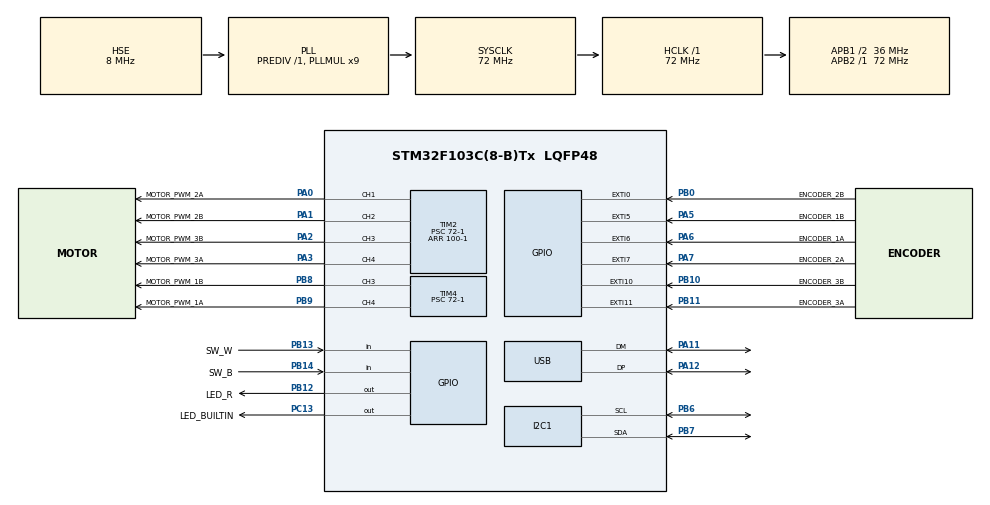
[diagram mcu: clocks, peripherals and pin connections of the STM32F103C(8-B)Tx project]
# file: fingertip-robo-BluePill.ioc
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I2C1.DualAddressMode=I2C_DUALADDRESS_DISABLE
I2C1.NoStretchMode=I2C_NOSTRETCH_ENABLE
I2C1.OwnAddress=0x1A
Mcu.Family=STM32F1
Mcu.Name=STM32F103C(8-B)Tx
Mcu.Package=LQFP48
NVIC.EXTI0_IRQn=true\:0\:0\:false\:false\:true\:true\:true
NVIC.EXTI15_10_IRQn=true\:0\:0\:false\:false\:true\:true\:true
NVIC.EXTI9_5_IRQn=true\:0\:0\:false\:false\:true\:true\:true
NVIC.I2C1_EV_IRQn=true\:0\:0\:true\:false\:true\:true\:true
NVIC.PriorityGroup=NVIC_PRIORITYGROUP_4
NVIC.USB_LP_CAN1_RX0_IRQn=true\:0\:0\:false\:false\:true\:false\:true
PA0-WKUP.GPIO_Label=MOTOR_PWM_2A
PA0-WKUP.Signal=S_TIM2_CH1_ETR
PA1.GPIO_Label=MOTOR_PWM_2B
PA1.Signal=S_TIM2_CH2
PA11.Mode=Device
PA11.Signal=USB_DM
PA12.Mode=Device
PA12.Signal=USB_DP
PA2.GPIO_Label=MOTOR_PWM_3B
PA2.Signal=S_TIM2_CH3
PA3.GPIO_Label=MOTOR_PWM_3A
PA3.Signal=S_TIM2_CH4
PA5.GPIO_Label=ENCODER_1B
PA5.GPIO_ModeDefaultEXTI=GPIO_MODE_IT_RISING_FALLING
PA5.GPIO_PuPd=GPIO_NOPULL
PA5.Signal=GPXTI5
PA6.GPIO_Label=ENCODER_1A
PA6.GPIO_ModeDefaultEXTI=GPIO_MODE_IT_RISING_FALLING
PA6.Signal=GPXTI6
PA7.GPIO_Label=ENCODER_2A
PA7.GPIO_ModeDefaultEXTI=GPIO_MODE_IT_RISING_FALLING
PA7.Signal=GPXTI7
PB0.GPIO_Label=ENCODER_2B
PB0.GPIO_ModeDefaultEXTI=GPIO_MODE_IT_RISING_FALLING
PB0.Signal=GPXTI0
PB10.GPIO_Label=ENCODER_3B
PB10.GPIO_ModeDefaultEXTI=GPIO_MODE_IT_RISING_FALLING
PB10.Signal=GPXTI10
PB11.GPIO_Label=ENCODER_3A
PB11.GPIO_ModeDefaultEXTI=GPIO_MODE_IT_RISING_FALLING
PB11.Signal=GPXTI11
PB12.GPIO_Label=LED_R
PB12.Signal=GPIO_Output
PB13.GPIO_Label=SW_W
PB13.GPIO_PuPd=GPIO_PULLUP
PB13.Signal=GPIO_Input
PB14.GPIO_Label=SW_B
PB14.GPIO_PuPd=GPIO_PULLUP
PB14.Signal=GPIO_Input
PB6.Mode=I2C
PB6.Signal=I2C1_SCL
PB7.Mode=I2C
PB7.Signal=I2C1_SDA
PB8.GPIO_Label=MOTOR_PWM_1B
PB8.Signal=S_TIM4_CH3
PB9.GPIO_Label=MOTOR_PWM_1A
PB9.Signal=S_TIM4_CH4
PC13-TAMPER-RTC.GPIO_Label=LED_BUILTIN
PC13-TAMPER-RTC.Signal=GPIO_Output
PD0-OSC_IN.Mode=HSE-External-Oscillator
PD0-OSC_IN.Signal=RCC_OSC_IN
PD1-OSC_OUT.Mode=HSE-External-Oscillator
PD1-OSC_OUT.Signal=RCC_OSC_OUT
ProjectManager.HeapSize=0x200
ProjectManager.StackSize=0x400
ProjectManager.TargetToolchain=STM32CubeIDE
RCC.AHBFreq_Value=72000000
RCC.APB1CLKDivider=RCC_HCLK_DIV2
RCC.APB1Freq_Value=36000000
RCC.APB1TimFreq_Value=72000000
RCC.APB2Freq_Value=72000000
RCC.APB2TimFreq_Value=72000000
RCC.HCLKFreq_Value=72000000
RCC.PLLMUL=RCC_PLL_MUL9
RCC.PLLSourceVirtual=RCC_PLLSOURCE_HSE
RCC.SYSCLKFreq_VALUE=72000000
RCC.SYSCLKSource=RCC_SYSCLKSOURCE_PLLCLK
RCC.USBFreq_Value=48000000
RCC.USBPrescaler=RCC_USBCLKSOURCE_PLL_DIV1_5
SH.S_TIM2_CH1_ETR.0=TIM2_CH1,PWM Generation1 CH1
SH.S_TIM2_CH2.0=TIM2_CH2,PWM Generation2 CH2
SH.S_TIM2_CH3.0=TIM2_CH3,PWM Generation3 CH3
SH.S_TIM2_CH4.0=TIM2_CH4,PWM Generation4 CH4
SH.S_TIM4_CH3.0=TIM4_CH3,PWM Generation3 CH3
SH.S_TIM4_CH4.0=TIM4_CH4,PWM Generation4 CH4
TIM2.AutoReloadPreload=TIM_AUTORELOAD_PRELOAD_ENABLE
TIM2.Channel-PWM\ Generation1\ CH1=TIM_CHANNEL_1
TIM2.Channel-PWM\ Generation2\ CH2=TIM_CHANNEL_2
TIM2.Channel-PWM\ Generation3\ CH3=TIM_CHANNEL_3
TIM2.Channel-PWM\ Generation4\ CH4=TIM_CHANNEL_4
TIM2.Period=100-1
TIM2.Prescaler=72-1
TIM4.AutoReloadPreload=TIM_AUTORELOAD_PRELOAD_ENABLE
TIM4.Channel-PWM\ Generation3\ CH3=TIM_CHANNEL_3
TIM4.Channel-PWM\ Generation4\ CH4=TIM_CHANNEL_4
TIM4.Period=100-1
TIM4.Prescaler=72-1
USB_DEVICE.CLASS_NAME_FS=CDC
USB_DEVICE.VirtualMode=Cdc
USB_DEVICE.VirtualModeFS=Cdc_FS
VP_SYS_VS_ND.Mode=No_Debug
VP_TIM2_VS_ClockSourceINT.Mode=Internal
VP_TIM4_VS_ClockSourceINT.Mode=Internal
VP_USB_DEVICE_VS_USB_DEVICE_CDC_FS.Mode=CDC_FS
board=custom

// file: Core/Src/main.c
/* USER CODE BEGIN Header */
/**
 ******************************************************************************
 * @file           : main.c
 * @brief          : Main program body
 ******************************************************************************
 * @attention
 *
 * <h2><center>&copy; Copyright (c) 2021 STMicroelectronics.
 * All rights reserved.</center></h2>
 *
 * This software component is licensed by ST under BSD 3-Clause license,
 * the "License"; You may not use this file except in compliance with the
 * License. You may obtain a copy of the License at:
 *                        opensource.org/licenses/BSD-3-Clause
 *
 ******************************************************************************
 */
/* USER CODE END Header */
#include "main.h"
#include "usb_device.h"

/* USER CODE BEGIN PTD */
typedef struct __enc_values{
	uint8_t state;
	uint8_t pre_state;
	int32_t count;
}enc_values;
/* USER CODE END PTD */

/* USER CODE BEGIN PD */
#define ENCODER_PPR 11
#define ENCODER_1ROTATION_PPR ENCODER_PPR*4*577 //577回転すると、出力軸が1回転
#define ENCODER_HALF_ROTATION_PPR ENCODER_PPR*2*577
#define MOTOR_PWM_HIGH_SPEED 60
#define MOTOR_PWM_LOW_SPEED 20
/* USER CODE END PD */

I2C_HandleTypeDef hi2c1;

TIM_HandleTypeDef htim2;
TIM_HandleTypeDef htim4;

/* USER CODE BEGIN PV */
volatile enc_values enc1, enc2, enc3;
/* USER CODE END PV */

void SystemClock_Config(void);
static void MX_GPIO_Init(void);
static void MX_I2C1_Init(void);
static void MX_TIM2_Init(void);
static void MX_TIM4_Init(void);
/* USER CODE BEGIN PFP */
void state2count(enc_values*);
/* USER CODE END PFP */

int main(void)
{

  /* MCU Configuration--------------------------------------------------------*/

  /* Reset of all peripherals, Initializes the Flash interface and the Systick. */
  HAL_Init();

  /* Configure the system clock */
  SystemClock_Config();

  /* Initialize all configured peripherals */
  MX_GPIO_Init();
  MX_I2C1_Init();
  MX_TIM2_Init();
  MX_TIM4_Init();
  MX_USB_DEVICE_Init();

  /* Infinite loop */
  /* USER CODE BEGIN WHILE */
	// Motor1 initialize
	HAL_TIM_PWM_Start(&htim4, TIM_CHANNEL_3);
	HAL_TIM_PWM_Start(&htim4, TIM_CHANNEL_4);
	enc1.pre_state = HAL_GPIO_ReadPin(ENCODER_1A_GPIO_Port, ENCODER_1A_Pin)
			+ 2 * HAL_GPIO_ReadPin(ENCODER_1B_GPIO_Port, ENCODER_1B_Pin);
	enc1.state = HAL_GPIO_ReadPin(ENCODER_1A_GPIO_Port, ENCODER_1A_Pin)
			+ 2 * HAL_GPIO_ReadPin(ENCODER_1B_GPIO_Port, ENCODER_1B_Pin);
	enc1.count = 0;

	// Motor2 initialize
	HAL_TIM_PWM_Start(&htim2, TIM_CHANNEL_1);
	HAL_TIM_PWM_Start(&htim2, TIM_CHANNEL_2);
	enc2.pre_state = HAL_GPIO_ReadPin(ENCODER_2A_GPIO_Port, ENCODER_2A_Pin)
			+ 2 * HAL_GPIO_ReadPin(ENCODER_2B_GPIO_Port, ENCODER_2B_Pin);
	enc2.state = HAL_GPIO_ReadPin(ENCODER_2A_GPIO_Port, ENCODER_2A_Pin)
			+ 2 * HAL_GPIO_ReadPin(ENCODER_2B_GPIO_Port, ENCODER_2B_Pin);
	enc2.count = 0;

	//Motor3 initialize
	HAL_TIM_PWM_Start(&htim2, TIM_CHANNEL_3);
	HAL_TIM_PWM_Start(&htim2, TIM_CHANNEL_4);
	enc3.pre_state = HAL_GPIO_ReadPin(ENCODER_3A_GPIO_Port, ENCODER_2A_Pin)
			+ 2 * HAL_GPIO_ReadPin(ENCODER_3B_GPIO_Port, ENCODER_3B_Pin);
	enc3.state = HAL_GPIO_ReadPin(ENCODER_3A_GPIO_Port, ENCODER_3A_Pin)
			+ 2 * HAL_GPIO_ReadPin(ENCODER_3B_GPIO_Port, ENCODER_3B_Pin);
	enc3.count = 0;

	uint8_t state =0;
	int32_t c_val = 0;
	while (1) {
		HAL_GPIO_WritePin(LED_BUILTIN_GPIO_Port, LED_BUILTIN_Pin, GPIO_PIN_SET);
		while(1){
			HAL_GPIO_TogglePin(LED_R_GPIO_Port, LED_R_Pin);
			HAL_Delay(200);
			if (HAL_GPIO_ReadPin(SW_B_GPIO_Port, SW_B_Pin) == GPIO_PIN_RESET){
				c_val = ENCODER_HALF_ROTATION_PPR;
				break;
			}
			if (HAL_GPIO_ReadPin(SW_W_GPIO_Port, SW_W_Pin) == GPIO_PIN_RESET){
				c_val = ENCODER_1ROTATION_PPR;
				break;
			}
		}
		HAL_GPIO_WritePin(LED_R_GPIO_Port, LED_R_Pin, GPIO_PIN_RESET);

		uint8_t motor1OK = 0, motor2OK = 0, motor3OK = 0;
		HAL_GPIO_WritePin(LED_BUILTIN_GPIO_Port, LED_BUILTIN_Pin, GPIO_PIN_RESET);

		while(motor1OK+motor2OK+motor3OK != 3){
			//motor1 pid
			if (enc1.count > c_val) {
				motor1OK = 0;
				__HAL_TIM_SET_COMPARE(&htim4, TIM_CHANNEL_4, 0);
				if(enc1.count >= c_val + (ENCODER_PPR*8)) __HAL_TIM_SET_COMPARE(&htim4, TIM_CHANNEL_3, MOTOR_PWM_HIGH_SPEED);
				else __HAL_TIM_SET_COMPARE(&htim4, TIM_CHANNEL_3, MOTOR_PWM_LOW_SPEED);
			} else if (enc1.count < c_val) {
				motor1OK = 0;
				__HAL_TIM_SET_COMPARE(&htim4, TIM_CHANNEL_3, 0);
				if(enc1.count <= c_val - (ENCODER_PPR*8)) __HAL_TIM_SET_COMPARE(&htim4, TIM_CHANNEL_4, MOTOR_PWM_HIGH_SPEED);
				else __HAL_TIM_SET_COMPARE(&htim4, TIM_CHANNEL_4, MOTOR_PWM_LOW_SPEED);
			}else if (enc1.count == c_val) {
				motor1OK = 0;
				__HAL_TIM_SET_COMPARE(&htim4, TIM_CHANNEL_4, 0);
				__HAL_TIM_SET_COMPARE(&htim4, TIM_CHANNEL_3, 0);
				motor1OK = 1;
			}

			//motor2 pid
			if (enc2.count > c_val) {
				motor2OK = 0;
				__HAL_TIM_SET_COMPARE(&htim2, TIM_CHANNEL_1, 0);
				if(enc2.count >= c_val + (ENCODER_PPR*8)) __HAL_TIM_SET_COMPARE(&htim2, TIM_CHANNEL_2, MOTOR_PWM_HIGH_SPEED);
				else __HAL_TIM_SET_COMPARE(&htim2, TIM_CHANNEL_2, MOTOR_PWM_LOW_SPEED);
			} else if (enc2.count < c_val) {
				motor2OK = 0;
				__HAL_TIM_SET_COMPARE(&htim2, TIM_CHANNEL_2, 0);
				if(enc2.count <= c_val - (ENCODER_PPR*8)) __HAL_TIM_SET_COMPARE(&htim2, TIM_CHANNEL_1, MOTOR_PWM_HIGH_SPEED);
				else __HAL_TIM_SET_COMPARE(&htim2, TIM_CHANNEL_1, MOTOR_PWM_LOW_SPEED);
			}else if (enc2.count == c_val) {
				__HAL_TIM_SET_COMPARE(&htim2, TIM_CHANNEL_1, 0);
				__HAL_TIM_SET_COMPARE(&htim2, TIM_CHANNEL_2, 0);
				motor2OK = 1;
			}

			//motor3 pid
			if (enc3.count > c_val) {
				motor3OK = 0;
				__HAL_TIM_SET_COMPARE(&htim2, TIM_CHANNEL_4, 0);
				if(enc3.count >= c_val + (ENCODER_PPR*8)) __HAL_TIM_SET_COMPARE(&htim2, TIM_CHANNEL_3, MOTOR_PWM_HIGH_SPEED);
				else __HAL_TIM_SET_COMPARE(&htim2, TIM_CHANNEL_3, MOTOR_PWM_LOW_SPEED);
			} else if (enc3.count < ENCODER_HALF_ROTATION_PPR) {
				motor3OK = 0;
				__HAL_TIM_SET_COMPARE(&htim2, TIM_CHANNEL_3, 0);
				if(enc3.count <= c_val - (ENCODER_PPR*8)) __HAL_TIM_SET_COMPARE(&htim2, TIM_CHANNEL_4, MOTOR_PWM_HIGH_SPEED);
				else __HAL_TIM_SET_COMPARE(&htim2, TIM_CHANNEL_4, MOTOR_PWM_LOW_SPEED);
			}else if (enc3.count == c_val) {
				__HAL_TIM_SET_COMPARE(&htim2, TIM_CHANNEL_4, 0);
				__HAL_TIM_SET_COMPARE(&htim2, TIM_CHANNEL_3, 0);
				motor3OK = 1;
			}

			HAL_Delay(1);
		}
		enc1.count = 0;
		enc2.count = 0;
		enc3.count = 0;
		c_val = 0;
		HAL_GPIO_WritePin(LED_BUILTIN_GPIO_Port, LED_BUILTIN_Pin, GPIO_PIN_SET);
    /* USER CODE END WHILE */

	}
}

void SystemClock_Config(void)
{
  RCC_OscInitTypeDef RCC_OscInitStruct = {0};
  RCC_ClkInitTypeDef RCC_ClkInitStruct = {0};
  RCC_PeriphCLKInitTypeDef PeriphClkInit = {0};

  /** Initializes the RCC Oscillators according to the specified parameters
  * in the RCC_OscInitTypeDef structure.
  */
  RCC_OscInitStruct.OscillatorType = RCC_OSCILLATORTYPE_HSE;
  RCC_OscInitStruct.HSEState = RCC_HSE_ON;
  RCC_OscInitStruct.HSEPredivValue = RCC_HSE_PREDIV_DIV1;
  RCC_OscInitStruct.HSIState = RCC_HSI_ON;
  RCC_OscInitStruct.PLL.PLLState = RCC_PLL_ON;
  RCC_OscInitStruct.PLL.PLLSource = RCC_PLLSOURCE_HSE;
  RCC_OscInitStruct.PLL.PLLMUL = RCC_PLL_MUL9;
  if (HAL_RCC_OscConfig(&RCC_OscInitStruct) != HAL_OK)
  {
    Error_Handler();
  }
  /** Initializes the CPU, AHB and APB buses clocks
  */
  RCC_ClkInitStruct.ClockType = RCC_CLOCKTYPE_HCLK|RCC_CLOCKTYPE_SYSCLK
                              |RCC_CLOCKTYPE_PCLK1|RCC_CLOCKTYPE_PCLK2;
  RCC_ClkInitStruct.SYSCLKSource = RCC_SYSCLKSOURCE_PLLCLK;
  RCC_ClkInitStruct.AHBCLKDivider = RCC_SYSCLK_DIV1;
  RCC_ClkInitStruct.APB1CLKDivider = RCC_HCLK_DIV2;
  RCC_ClkInitStruct.APB2CLKDivider = RCC_HCLK_DIV1;

  if (HAL_RCC_ClockConfig(&RCC_ClkInitStruct, FLASH_LATENCY_2) != HAL_OK)
  {
    Error_Handler();
  }
  PeriphClkInit.PeriphClockSelection = RCC_PERIPHCLK_USB;
  PeriphClkInit.UsbClockSelection = RCC_USBCLKSOURCE_PLL_DIV1_5;
  if (HAL_RCCEx_PeriphCLKConfig(&PeriphClkInit) != HAL_OK)
  {
    Error_Handler();
  }
}

static void MX_I2C1_Init(void)
{

  hi2c1.Instance = I2C1;
  hi2c1.Init.ClockSpeed = 100000;
  hi2c1.Init.DutyCycle = I2C_DUTYCYCLE_2;
  hi2c1.Init.OwnAddress1 = 52;
  hi2c1.Init.AddressingMode = I2C_ADDRESSINGMODE_7BIT;
  hi2c1.Init.DualAddressMode = I2C_DUALADDRESS_DISABLE;
  hi2c1.Init.OwnAddress2 = 0;
  hi2c1.Init.GeneralCallMode = I2C_GENERALCALL_DISABLE;
  hi2c1.Init.NoStretchMode = I2C_NOSTRETCH_ENABLE;
  if (HAL_I2C_Init(&hi2c1) != HAL_OK)
  {
    Error_Handler();
  }

}

static void MX_TIM2_Init(void)
{

  TIM_ClockConfigTypeDef sClockSourceConfig = {0};
  TIM_MasterConfigTypeDef sMasterConfig = {0};
  TIM_OC_InitTypeDef sConfigOC = {0};

  htim2.Instance = TIM2;
  htim2.Init.Prescaler = 72-1;
  htim2.Init.CounterMode = TIM_COUNTERMODE_UP;
  htim2.Init.Period = 100-1;
  htim2.Init.ClockDivision = TIM_CLOCKDIVISION_DIV1;
  htim2.Init.AutoReloadPreload = TIM_AUTORELOAD_PRELOAD_ENABLE;
  if (HAL_TIM_Base_Init(&htim2) != HAL_OK)
  {
    Error_Handler();
  }
  sClockSourceConfig.ClockSource = TIM_CLOCKSOURCE_INTERNAL;
  if (HAL_TIM_ConfigClockSource(&htim2, &sClockSourceConfig) != HAL_OK)
  {
    Error_Handler();
  }
  if (HAL_TIM_PWM_Init(&htim2) != HAL_OK)
  {
    Error_Handler();
  }
  sMasterConfig.MasterOutputTrigger = TIM_TRGO_RESET;
  sMasterConfig.MasterSlaveMode = TIM_MASTERSLAVEMODE_DISABLE;
  if (HAL_TIMEx_MasterConfigSynchronization(&htim2, &sMasterConfig) != HAL_OK)
  {
    Error_Handler();
  }
  sConfigOC.OCMode = TIM_OCMODE_PWM1;
  sConfigOC.Pulse = 0;
  sConfigOC.OCPolarity = TIM_OCPOLARITY_HIGH;
  sConfigOC.OCFastMode = TIM_OCFAST_DISABLE;
  if (HAL_TIM_PWM_ConfigChannel(&htim2, &sConfigOC, TIM_CHANNEL_1) != HAL_OK)
  {
    Error_Handler();
  }
  if (HAL_TIM_PWM_ConfigChannel(&htim2, &sConfigOC, TIM_CHANNEL_2) != HAL_OK)
  {
    Error_Handler();
  }
  if (HAL_TIM_PWM_ConfigChannel(&htim2, &sConfigOC, TIM_CHANNEL_3) != HAL_OK)
  {
    Error_Handler();
  }
  if (HAL_TIM_PWM_ConfigChannel(&htim2, &sConfigOC, TIM_CHANNEL_4) != HAL_OK)
  {
    Error_Handler();
  }
  HAL_TIM_MspPostInit(&htim2);

}

static void MX_TIM4_Init(void)
{

  TIM_ClockConfigTypeDef sClockSourceConfig = {0};
  TIM_MasterConfigTypeDef sMasterConfig = {0};
  TIM_OC_InitTypeDef sConfigOC = {0};

  htim4.Instance = TIM4;
  htim4.Init.Prescaler = 72-1;
  htim4.Init.CounterMode = TIM_COUNTERMODE_UP;
  htim4.Init.Period = 100-1;
  htim4.Init.ClockDivision = TIM_CLOCKDIVISION_DIV1;
  htim4.Init.AutoReloadPreload = TIM_AUTORELOAD_PRELOAD_ENABLE;
  if (HAL_TIM_Base_Init(&htim4) != HAL_OK)
  {
    Error_Handler();
  }
  sClockSourceConfig.ClockSource = TIM_CLOCKSOURCE_INTERNAL;
  if (HAL_TIM_ConfigClockSource(&htim4, &sClockSourceConfig) != HAL_OK)
  {
    Error_Handler();
  }
  if (HAL_TIM_PWM_Init(&htim4) != HAL_OK)
  {
    Error_Handler();
  }
  sMasterConfig.MasterOutputTrigger = TIM_TRGO_RESET;
  sMasterConfig.MasterSlaveMode = TIM_MASTERSLAVEMODE_DISABLE;
  if (HAL_TIMEx_MasterConfigSynchronization(&htim4, &sMasterConfig) != HAL_OK)
  {
    Error_Handler();
  }
  sConfigOC.OCMode = TIM_OCMODE_PWM1;
  sConfigOC.Pulse = 0;
  sConfigOC.OCPolarity = TIM_OCPOLARITY_HIGH;
  sConfigOC.OCFastMode = TIM_OCFAST_DISABLE;
  if (HAL_TIM_PWM_ConfigChannel(&htim4, &sConfigOC, TIM_CHANNEL_3) != HAL_OK)
  {
    Error_Handler();
  }
  if (HAL_TIM_PWM_ConfigChannel(&htim4, &sConfigOC, TIM_CHANNEL_4) != HAL_OK)
  {
    Error_Handler();
  }
  HAL_TIM_MspPostInit(&htim4);

}

static void MX_GPIO_Init(void)
{
  GPIO_InitTypeDef GPIO_InitStruct = {0};

  /* GPIO Ports Clock Enable */
  __HAL_RCC_GPIOC_CLK_ENABLE();
  __HAL_RCC_GPIOD_CLK_ENABLE();
  __HAL_RCC_GPIOA_CLK_ENABLE();
  __HAL_RCC_GPIOB_CLK_ENABLE();

  /*Configure GPIO pin Output Level */
  HAL_GPIO_WritePin(LED_BUILTIN_GPIO_Port, LED_BUILTIN_Pin, GPIO_PIN_RESET);

  /*Configure GPIO pin Output Level */
  HAL_GPIO_WritePin(LED_R_GPIO_Port, LED_R_Pin, GPIO_PIN_RESET);

  /*Configure GPIO pin : LED_BUILTIN_Pin */
  GPIO_InitStruct.Pin = LED_BUILTIN_Pin;
  GPIO_InitStruct.Mode = GPIO_MODE_OUTPUT_PP;
  GPIO_InitStruct.Pull = GPIO_NOPULL;
  GPIO_InitStruct.Speed = GPIO_SPEED_FREQ_LOW;
  HAL_GPIO_Init(LED_BUILTIN_GPIO_Port, &GPIO_InitStruct);

  /*Configure GPIO pins : ENCODER_1B_Pin ENCODER_1A_Pin ENCODER_2A_Pin */
  GPIO_InitStruct.Pin = ENCODER_1B_Pin|ENCODER_1A_Pin|ENCODER_2A_Pin;
  GPIO_InitStruct.Mode = GPIO_MODE_IT_RISING_FALLING;
  GPIO_InitStruct.Pull = GPIO_NOPULL;
  HAL_GPIO_Init(GPIOA, &GPIO_InitStruct);

  /*Configure GPIO pins : ENCODER_2B_Pin ENCODER_3B_Pin ENCODER_3A_Pin */
  GPIO_InitStruct.Pin = ENCODER_2B_Pin|ENCODER_3B_Pin|ENCODER_3A_Pin;
  GPIO_InitStruct.Mode = GPIO_MODE_IT_RISING_FALLING;
  GPIO_InitStruct.Pull = GPIO_NOPULL;
  HAL_GPIO_Init(GPIOB, &GPIO_InitStruct);

  /*Configure GPIO pin : LED_R_Pin */
  GPIO_InitStruct.Pin = LED_R_Pin;
  GPIO_InitStruct.Mode = GPIO_MODE_OUTPUT_PP;
  GPIO_InitStruct.Pull = GPIO_NOPULL;
  GPIO_InitStruct.Speed = GPIO_SPEED_FREQ_LOW;
  HAL_GPIO_Init(LED_R_GPIO_Port, &GPIO_InitStruct);

  /*Configure GPIO pins : SW_W_Pin SW_B_Pin */
  GPIO_InitStruct.Pin = SW_W_Pin|SW_B_Pin;
  GPIO_InitStruct.Mode = GPIO_MODE_INPUT;
  GPIO_InitStruct.Pull = GPIO_PULLUP;
  HAL_GPIO_Init(GPIOB, &GPIO_InitStruct);

  /* EXTI interrupt init*/
  HAL_NVIC_SetPriority(EXTI0_IRQn, 0, 0);
  HAL_NVIC_EnableIRQ(EXTI0_IRQn);

  HAL_NVIC_SetPriority(EXTI9_5_IRQn, 0, 0);
  HAL_NVIC_EnableIRQ(EXTI9_5_IRQn);

  HAL_NVIC_SetPriority(EXTI15_10_IRQn, 0, 0);
  HAL_NVIC_EnableIRQ(EXTI15_10_IRQn);

}

/* USER CODE BEGIN 4 */
void HAL_GPIO_EXTI_Callback(uint16_t GPIO_Pin) {
	//エンコーダ用の割り込みの有効化
	switch (GPIO_Pin) {
	case ENCODER_1A_Pin:
		enc1.pre_state = enc1.state;
		enc1.state = HAL_GPIO_ReadPin(ENCODER_1A_GPIO_Port, ENCODER_1A_Pin)
				+ 2 * HAL_GPIO_ReadPin(ENCODER_1B_GPIO_Port, ENCODER_1B_Pin);
		state2count(&enc1);
		break;
	case ENCODER_1B_Pin:
		enc1.pre_state = enc1.state;
		enc1.state = HAL_GPIO_ReadPin(ENCODER_1A_GPIO_Port, ENCODER_1A_Pin)
				+ 2 * HAL_GPIO_ReadPin(ENCODER_1B_GPIO_Port, ENCODER_1B_Pin);
		state2count(&enc1);
	case ENCODER_2A_Pin:
		enc2.pre_state = enc2.state;
		enc2.state = HAL_GPIO_ReadPin(ENCODER_2A_GPIO_Port, ENCODER_2A_Pin)
				+ 2 * HAL_GPIO_ReadPin(ENCODER_2B_GPIO_Port, ENCODER_2B_Pin);
		state2count(&enc2);
		break;
	case ENCODER_2B_Pin:
		enc2.pre_state = enc2.state;
		enc2.state = HAL_GPIO_ReadPin(ENCODER_2A_GPIO_Port, ENCODER_2A_Pin)
				+ 2 * HAL_GPIO_ReadPin(ENCODER_2B_GPIO_Port, ENCODER_2B_Pin);
		state2count(&enc2);
		break;
	case ENCODER_3A_Pin:
		enc3.pre_state = enc3.state;
		enc3.state = HAL_GPIO_ReadPin(ENCODER_3A_GPIO_Port, ENCODER_3A_Pin)
				+ 2 * HAL_GPIO_ReadPin(ENCODER_3B_GPIO_Port, ENCODER_3B_Pin);
		state2count(&enc3);
		break;
	case ENCODER_3B_Pin:
		enc3.pre_state = enc3.state;
		enc3.state = HAL_GPIO_ReadPin(ENCODER_3A_GPIO_Port, ENCODER_3A_Pin)
				+ 2 * HAL_GPIO_ReadPin(ENCODER_3B_GPIO_Port, ENCODER_3B_Pin);
		state2count(&enc3);
		break;
	default:
		break;
	}
}

void state2count(enc_values *ev) {
	switch (ev->state) {
	case 0:
		if (ev->pre_state == 1)
			(ev->count)--;
		if (ev->pre_state == 2)
			(ev->count)++;
		break;
	case 1:
		if (ev->pre_state == 3)
			(ev->count)--;
		if (ev->pre_state == 0)
			(ev->count)++;
		break;
	case 2:
		if (ev->pre_state == 0)
			(ev->count)--;
		if (ev->pre_state == 3)
			(ev->count)++;
		break;
	case 3:
		if (ev->pre_state == 2)
			(ev->count)--;
		if (ev->pre_state == 1)
			(ev->count)++;
		break;
	default:
		break;
	}
}
/* USER CODE END 4 */

void Error_Handler(void)
{
  /* USER CODE BEGIN Error_Handler_Debug */
	/* User can add his own implementation to report the HAL error return state */
	__disable_irq();
	while (1) {
		HAL_GPIO_TogglePin(LED_BUILTIN_GPIO_Port, LED_BUILTIN_Pin);
		HAL_Delay(200);
	}
  /* USER CODE END Error_Handler_Debug */
}

/************************ (C) COPYRIGHT STMicroelectronics *****END OF FILE****/
